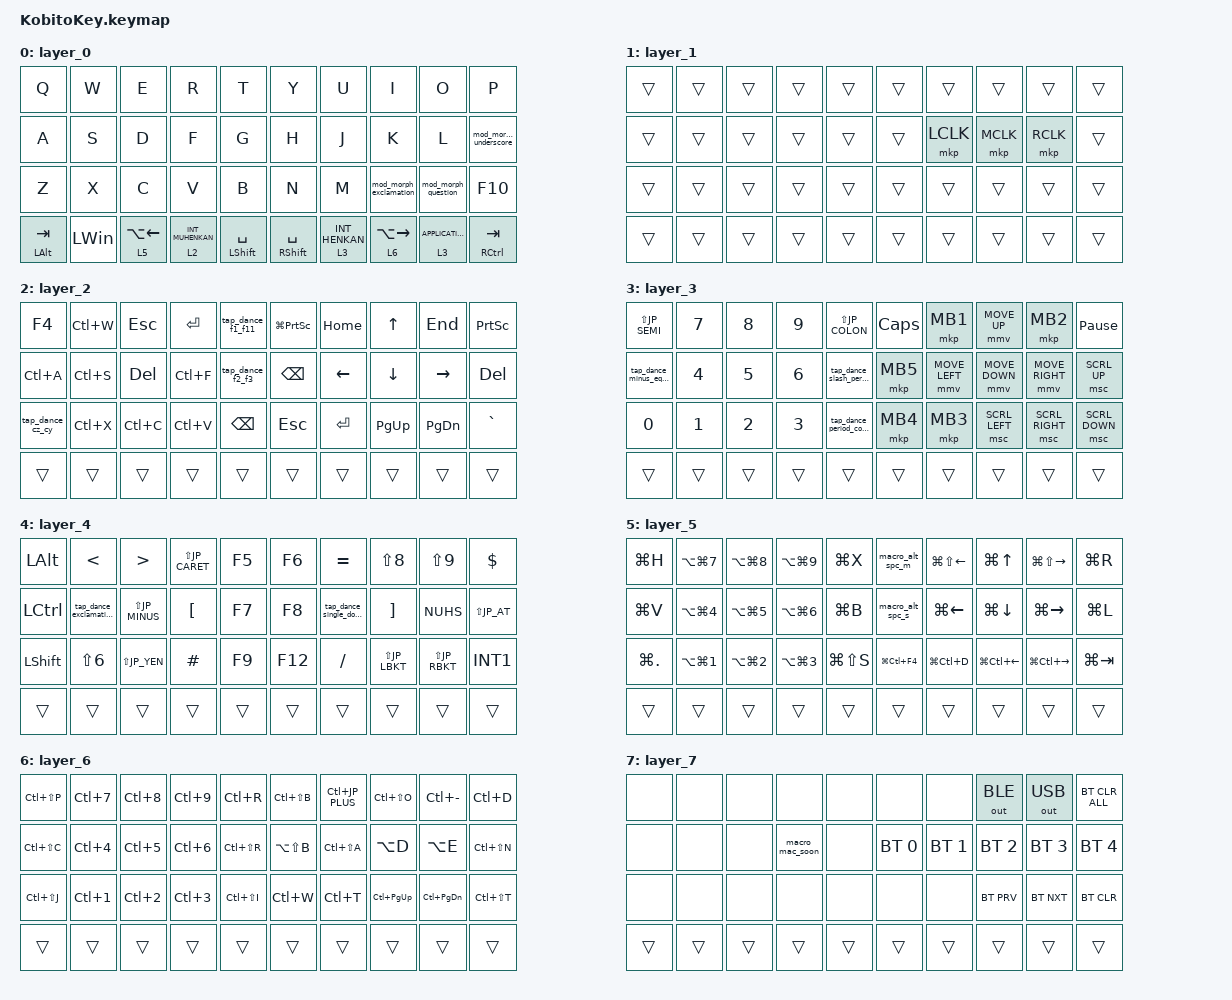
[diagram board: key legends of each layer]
#include <input/processors.dtsi>
#include <behaviors.dtsi>
#include <dt-bindings/zmk/bt.h>
#include <dt-bindings/zmk/keys.h>
#include <dt-bindings/zmk/outputs.h>
#include <dt-bindings/zmk/pointing.h>

/* 日本語109キーボード用定義 */
#define JP_ZKHK  GRAVE        // Zenkaku ↔ Hankaku ↔ Kanji (半角 ↔ 全角 ↔ 漢字)
#define JP_MINUS MINUS        // -
#define JP_CARET EQUAL        // ^
#define JP_YEN   INT3         // ¥
#define JP_AT    LBKT         // @
#define JP_LBKT  RBKT         // [
#define JP_EISU  CAPS         // Eisū (英数)
#define JP_SEMI  SEMI         // ;
#define JP_COLON SQT          // :
#define JP_RBKT  NUHS         // ]
#define JP_COMMA COMMA        // ,
#define JP_DOT   DOT          // .
#define JP_SLASH SLASH        // /
#define JP_BSLH  INT1         // (backslash)
#define JP_MHEN  INT5         // Muhenkan (無変換)
#define JP_HENK  INT4         // Henkan (変換)
#define JP_KANA  INT2         // Katakana ↔ Hiragana ↔ Rōmaji (カタカナ ↔ ひらがな ↔ ローマ字)
#define JP_EXCL  LS(N1)       // !
#define JP_DQT   LS(N2)       // "
#define JP_HASH  LS(N3)       // #
#define JP_DLLR  LS(N4)       // $
#define JP_PRCNT LS(N5)       // %
#define JP_AMPS  LS(N6)       // &
#define JP_SQT   LS(N7)       // '
#define JP_LPAR  LS(N8)       // (
#define JP_RPAR  LS(N9)       // )
#define JP_EQUAL LS(JP_MINUS) // =
#define JP_TILDE LS(JP_CARET) // ~
#define JP_PIPE  LS(JP_YEN)   // |
#define JP_GRAVE LS(JP_AT)    // `
#define JP_LBRC  LS(JP_LBKT)  // {
#define JP_CAPS  LS(JP_EISU)  // Caps Lock
#define JP_PLUS  LS(JP_SEMI)  // +
#define JP_ASTRK LS(JP_COLON) // *
#define JP_RBRC  LS(JP_RBKT)  // }
#define JP_LT    LS(JP_COMMA) // <
#define JP_RT    LS(JP_DOT)   // >
#define JP_QMARK LS(JP_SLASH) // ?
#define JP_UNDER LS(JP_BSLH)  // _

&lt {
    flavor = "balanced";
    tapping-term-ms = <160>;
};

&mt {
    flavor = "balanced";
    tapping-term-ms = <160>;
};

&caps_word { continue-list = <UNDERSCORE BACKSPACE DELETE JP_UNDER>; };

/ {
    /* 40キー（横10列）のマトリックスに合わせてkey-positionsを定義 */
    combos {
        compatible = "zmk,combos";

        combo_caps_word {
            bindings = <&caps_word>;
            key-positions = <11 12>;
        };

        combo_key_repeat {
            bindings = <&key_repeat>;
            key-positions = <17 18>;
        };
    };

    behaviors {
        mod_morph_minus_underscore: mod_morph_minus_underscore {
            compatible = "zmk,behavior-mod-morph";
            label = "MOD_MORPH_MINUS_UNDERSCORE";
            bindings = <&kp MINUS>, <&kp JP_UNDER>;
            #binding-cells = <0>;
            mods = <(MOD_RSFT|MOD_LSFT)>;
        };

        tap_dance_comma_semicolon: tap_dance_comma_semicolon {
            compatible = "zmk,behavior-tap-dance";
            label = "TAP_DANCE_COMMA_SEMICOLON";
            #binding-cells = <0>;
            bindings = <&kp COMMA>, <&kp SEMICOLON>;
        };

        tap_dance_period_colon: tap_dance_period_colon {
            compatible = "zmk,behavior-tap-dance";
            label = "TAP_DANCE_PERIOD_COLON";
            #binding-cells = <0>;
            bindings = <&kp PERIOD>, <&kp JP_COLON>;
        };

        mod_morph_exclamation: mod_morph_exclamation {
            compatible = "zmk,behavior-mod-morph";
            label = "MOD_MORPH_EXCLAMATION";
            bindings = <&tap_dance_comma_semicolon>, <&kp EXCLAMATION>;
            #binding-cells = <0>;
            mods = <(MOD_RSFT|MOD_LSFT)>;
        };

        mod_morph_question: mod_morph_question {
            compatible = "zmk,behavior-mod-morph";
            label = "MOD_MORPH_QUESTION";
            bindings = <&tap_dance_period_colon>, <&kp QUESTION>;
            #binding-cells = <0>;
            mods = <(MOD_RSFT|MOD_LSFT)>;
        };

        tap_dance_f1_f11: tap_dance_f1_f11 {
            compatible = "zmk,behavior-tap-dance";
            label = "TAP_DANCE_F1_F11";
            #binding-cells = <0>;
            bindings = <&kp F1>, <&kp F11>;
        };

        tap_dance_f2_f3: tap_dance_f2_f3 {
            compatible = "zmk,behavior-tap-dance";
            label = "TAP_DANCE_F2_F3";
            #binding-cells = <0>;
            bindings = <&kp F2>, <&kp F3>;
        };

        tap_dance_cz_cy: tap_dance_cz_cy {
            compatible = "zmk,behavior-tap-dance";
            label = "TAP_DANCE_CZ_CY";
            #binding-cells = <0>;
            bindings = <&kp LC(Z)>, <&kp LC(Y)>;
        };

        tap_dance_minus_equal: tap_dance_minus_equal {
            compatible = "zmk,behavior-tap-dance";
            label = "TAP_DANCE_MINUS_EQUAL";
            #binding-cells = <0>;
            bindings = <&kp MINUS>, <&kp JP_EQUAL>;
        };

        tap_dance_slash_percent: tap_dance_slash_percent {
            compatible = "zmk,behavior-tap-dance";
            label = "TAP_DANCE_SLASH_PERCENT";
            #binding-cells = <0>;
            bindings = <&kp SLASH>, <&kp PERCENT>;
        };

        tap_dance_exclamation_question: tap_dance_exclamation_question {
            compatible = "zmk,behavior-tap-dance";
            label = "TAP_DANCE_EXCLAMATION_QUESTION";
            #binding-cells = <0>;
            bindings = <&kp EXCLAMATION>, <&kp QUESTION>;
        };

        tap_dance_single_double: tap_dance_single_double {
            compatible = "zmk,behavior-tap-dance";
            label = "TAP_DANCE_SINGLE_DOUBLE";
            #binding-cells = <0>;
            bindings = <&kp JP_SQT>, <&kp JP_DQT>;
        };

        tap_dance_period_comma: tap_dance_period_comma {
            compatible = "zmk,behavior-tap-dance";
            label = "TAP_DANCE_PERIOD_COMMA";
            #binding-cells = <0>;
            bindings = <&kp PERIOD>, <&kp COMMA>;
        };
    };

    macros {
        macro_alt_spc_m: macro_alt_spc_m {
            compatible = "zmk,behavior-macro";
            #binding-cells = <0>;
            bindings = <&kp LA(SPACE) &kp M>;
            label = "MACRO_ALT_SPC_M";
        };

        macro_alt_spc_s: macro_alt_spc_s {
            compatible = "zmk,behavior-macro";
            #binding-cells = <0>;
            bindings = <&kp LA(SPACE) &kp S>;
            label = "MACRO_ALT_SPC_S";
        };

        macro_mac_soon: macro_mac_soon {
            compatible = "zmk,behavior-macro";
            #binding-cells = <0>;
            bindings
                = <&macro_wait_time 10>
                , <&kp LS(M) &kp A &kp C &kp SPACE &kp LS(L) &kp A &kp Y &kp E &kp R &kp SPACE &kp C &kp O &kp M &kp I &kp N &kp G &kp SPACE &kp S &kp O &kp O &kp N &kp DOT &kp DOT &kp DOT>;
            label = "MACRO_MAC_SOON";
        };
    };

    keymap {
        compatible = "zmk,keymap";

        layer_0 {
            bindings = <
&kp Q             &kp W         &kp E            &kp R               &kp T                                 &kp Y                  &kp U             &kp I                    &kp O                 &kp P
&kp A             &kp S         &kp D            &kp F               &kp G                                 &kp H                  &kp J             &kp K                    &kp L                 &mod_morph_minus_underscore
&kp Z             &kp X         &kp C            &kp V               &kp B                                 &kp N                  &kp M             &mod_morph_exclamation  &mod_morph_question  &kp F10
&mt LEFT_ALT TAB  &kp LEFT_WIN  &lt 5 LA(LEFT_ARROW) &lt 2 INT_MUHENKAN &mt LEFT_SHIFT SPACE               &mt RIGHT_SHIFT SPACE  &lt 3 INT_HENKAN  &lt 6 LA(RIGHT_ARROW)    &lt 3 K_APPLICATION  &mt RIGHT_CONTROL TAB
            >;
        };

        layer_1 {
            bindings = <
&trans  &trans  &trans  &trans  &trans          &trans  &trans    &trans    &trans    &trans
&trans  &trans  &trans  &trans  &trans          &trans  &mkp LCLK &mkp MCLK &mkp RCLK &trans
&trans  &trans  &trans  &trans  &trans          &trans  &trans    &trans    &trans    &trans
&trans  &trans  &trans  &trans  &trans          &trans  &trans    &trans    &trans    &trans
            >;
        };

        layer_2 {
            bindings = <
&kp F4            &kp LC(W)  &kp ESCAPE  &kp ENTER  &tap_dance_f1_f11          &kp LG(PRINTSCREEN)  &kp HOME        &kp UP_ARROW    &kp END        &kp PRINTSCREEN
&kp LC(A)         &kp LC(S)  &kp DELETE  &kp LC(F)  &tap_dance_f2_f3           &kp BACKSPACE        &kp LEFT_ARROW  &kp DOWN_ARROW  &kp RIGHT_ARROW &kp DELETE
&tap_dance_cz_cy  &kp LC(X)  &kp LC(C)   &kp LC(V)  &kp BACKSPACE              &kp ESCAPE           &kp ENTER       &kp PAGE_UP     &kp PAGE_DOWN  &kp JP_ZKHK
&trans            &trans     &trans      &trans     &trans                     &trans               &trans          &trans          &trans         &trans
            >;
        };

        layer_3 {
            bindings = <
&kp JP_PLUS            &kp NUMBER_7  &kp NUMBER_8  &kp NUMBER_9  &kp JP_ASTRK                      &kp CAPSLOCK  &mkp MB1        &mmv MOVE_UP    &mkp MB2         &kp PAUSE_BREAK
&tap_dance_minus_equal  &kp NUMBER_4  &kp NUMBER_5  &kp NUMBER_6  &tap_dance_slash_percent          &mkp MB5      &mmv MOVE_LEFT  &mmv MOVE_DOWN  &mmv MOVE_RIGHT  &msc SCRL_UP
&kp NUMBER_0            &kp NUMBER_1  &kp NUMBER_2  &kp NUMBER_3  &tap_dance_period_comma           &mkp MB4      &mkp MB3        &msc SCRL_LEFT  &msc SCRL_RIGHT  &msc SCRL_DOWN
&trans                  &trans        &trans        &trans        &trans                            &trans        &trans          &trans          &trans           &trans
            >;
        };

        layer_4 {
            bindings = <
&kp LALT        &kp LESS_THAN                    &kp GREATER_THAN  &kp JP_TILDE  &kp F5          &kp F6  &kp JP_CARET              &kp JP_LPAR  &kp JP_RPAR  &kp DOLLAR
&kp LCTRL       &tap_dance_exclamation_question  &kp JP_EQUAL      &kp JP_AT     &kp F7          &kp F8  &tap_dance_single_double  &kp JP_LBKT  &kp JP_RBKT  &kp JP_GRAVE
&kp LEFT_SHIFT  &kp JP_AMPS                      &kp JP_PIPE       &kp HASH      &kp F9          &kp F12 &kp SLASH                 &kp JP_LBRC  &kp JP_RBRC  &kp JP_BSLH
&trans          &trans                           &trans            &trans        &trans          &trans  &trans                    &trans       &trans       &trans
            >;
        };

        layer_5 {
            bindings = <
&kp LG(H)  &kp LA(LG(N7))  &kp LA(LG(N8))  &kp LA(LG(N9))  &kp LG(X)          &macro_alt_spc_m   &kp LG(LS(LEFT))  &kp LG(UP)    &kp LG(LS(RIGHT))  &kp LG(R)
&kp LG(V)  &kp LA(LG(N4))  &kp LA(LG(N5))  &kp LA(LG(N6))  &kp LG(B)          &macro_alt_spc_s   &kp LG(LEFT)      &kp LG(DOWN)  &kp LG(RIGHT)      &kp LG(L)
&kp LG(DOT) &kp LA(LG(N1))  &kp LA(LG(N2))  &kp LA(LG(N3))  &kp LG(LS(S))      &kp LG(LC(F4))     &kp LG(LC(D))     &kp LG(LC(LEFT)) &kp LG(LC(RIGHT))  &kp LG(TAB)
&trans     &trans          &trans          &trans          &trans             &trans             &trans            &trans        &trans             &trans
            >;
        };

        layer_6 {
            bindings = <
&kp LC(LS(P))  &kp LC(N7)  &kp LC(N8)  &kp LC(N9)  &kp LC(R)          &kp LC(LS(B))  &kp LC(JP_PLUS)  &kp LC(LS(O))  &kp LC(MINUS)  &kp LC(D)
&kp LC(LS(C))  &kp LC(N4)  &kp LC(N5)  &kp LC(N6)  &kp LC(LS(R))      &kp LA(LS(B))  &kp LC(LS(A))  &kp LA(D)      &kp LA(E)      &kp LC(LS(N))
&kp LC(LS(J))  &kp LC(N1)  &kp LC(N2)  &kp LC(N3)  &kp LC(LS(I))      &kp LC(W)      &kp LC(T)      &kp LC(PAGE_UP) &kp LC(PAGE_DOWN) &kp LC(LS(T))
&trans         &trans      &trans      &trans      &trans             &trans         &trans         &trans         &trans         &trans
            >;
        };

        layer_7 {
            bindings = <
&none  &none  &none  &none            &none          &none         &none         &out OUT_BLE  &out OUT_USB  &bt BT_CLR_ALL
&none  &none  &none  &macro_mac_soon  &none          &bt BT_SEL 0  &bt BT_SEL 1  &bt BT_SEL 2  &bt BT_SEL 3  &bt BT_SEL 4
&none  &none  &none  &none            &none          &none         &none         &bt BT_PRV    &bt BT_NXT    &bt BT_CLR
&trans &trans &trans &trans           &trans         &trans        &trans        &trans        &trans        &trans
            >;
        };
    };

    conditional_layers {
        compatible = "zmk,conditional-layers";

        condition_layer4 {
            if-layers = <2 3>;
            then-layer = <4>;
        };

        condition_layer7 {
            if-layers = <5 6>;
            then-layer = <7>;
        };
    };
};
